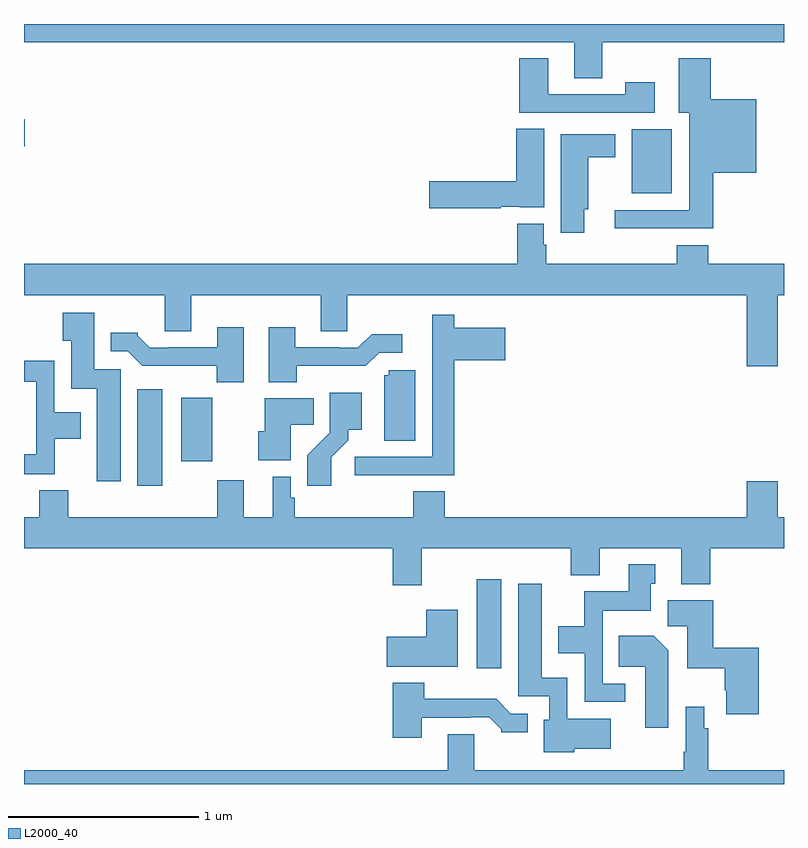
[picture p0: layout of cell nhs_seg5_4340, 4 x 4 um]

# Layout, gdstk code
import gdstk
lib = gdstk.Library(unit=1e-6, precision=1e-09)
def R(c, l, rs):  # rectangles x0, y0, x1, y1
    for r in rs: c.add(gdstk.rectangle(r[:2], r[2:], *l))
def P(c, l, *ps):  # polygons
    for p in ps: c.add(gdstk.Polygon(p, *l))
L2000_40 = (2000, 40)

nhs_seg5_4340 = lib.new_cell('nhs_seg5_4340')
R(nhs_seg5_4340, L2000_40, [(367.382,909.408,367.513,909.877), (365.597,910.368,365.728,910.876), (368.198,911.909,368.41,912.244), (365,912.155,365.005,912.297)])
P(nhs_seg5_4340, L2000_40, [(368.043,912.704),(369,912.704),(369,912.799),(365,912.799),(365,912.704),(367.895,912.704),(367.895,912.514),(368.043,912.514)],
  [(368.32,912.493),(368.164,912.493),(368.164,912.429),(367.759,912.429),(367.759,912.619),(367.607,912.619),(367.607,912.333),(368.32,912.333)],
  [(368.627,912.017),(368.854,912.017),(368.854,912.403),(368.614,912.403),(368.614,912.619),(368.447,912.619),(368.447,912.332),(368.501,912.332),(368.501,911.82),(368.109,911.82),(368.109,911.723),(368.627,911.723)],
  [(367.508,911.837),(367.608,911.837),(367.608,911.834),(367.738,911.834),(367.738,912.248),(367.592,912.248),(367.592,911.972),(367.134,911.972),(367.134,911.83),(367.508,911.83)],
  [(367.948,911.823),(367.969,911.823),(367.969,912.098),(368.113,912.098),(368.113,912.22),(367.826,912.22),(367.826,911.7),(367.948,911.7)],
  [(368.968,911.372),(369,911.372),(369,911.536),(368.6,911.536),(368.6,911.635),(368.435,911.635),(368.435,911.536),(367.748,911.536),(367.748,911.637),(367.735,911.637),(367.735,911.749),(367.595,911.749),(367.595,911.536),(365,911.536),(365,911.372),(365.741,911.372),(365.741,911.182),(365.881,911.182),(365.881,911.372),(366.563,911.372),(366.563,911.182),(366.702,911.182),(366.702,911.372),(368.804,911.372),(368.804,910.998),(368.968,910.998)],
  [(365.509,910.983),(365.371,910.983),(365.371,911.278),(365.203,911.278),(365.203,911.131),(365.249,911.131),(365.249,910.88),(365.384,910.88),(365.384,910.392),(365.509,910.392)],
  [(366.965,910.425),(367.265,910.425),(367.265,911.03),(367.534,911.03),(367.534,911.2),(367.265,911.2),(367.265,911.269),(367.148,911.269),(367.148,911.046),(367.149,911.046),(367.149,910.521),(366.741,910.521),(366.741,910.423),(366.965,910.423)],
  [(366.157,911.203),(366.017,911.203),(366.017,911.097),(365.761,911.097),(365.761,911.094),(365.662,911.094),(365.598,911.158),(365.598,911.173),(365.456,911.173),(365.456,911.076),(365.547,911.076),(365.623,911),(366.015,911),(366.015,910.913),(366.157,910.913)],
  [(366.435,911),(366.799,911),(366.87,911.07),(366.991,911.07),(366.991,911.167),(366.829,911.167),(366.756,911.094),(366.656,911.094),(366.656,911.097),(366.427,911.097),(366.427,911.203),(366.287,911.203),(366.287,910.913),(366.435,910.913)],
  [(365.163,910.616),(365.299,910.616),(365.299,910.756),(365.16,910.756),(365.16,911.026),(365,911.026),(365,910.917),(365.064,910.917),(365.064,910.534),(365,910.534),(365,910.43),(365.163,910.43)],
  [(367.06,910.977),(366.921,910.977),(366.921,910.95),(366.896,910.95),(366.896,910.606),(367.06,910.606)],
  [(366.616,910.519),(366.706,910.609),(366.706,910.664),(366.778,910.664),(366.778,910.858),(366.609,910.858),(366.609,910.649),(366.49,910.53),(366.49,910.368),(366.616,910.368)],
  [(365.992,910.724),(365.99,910.724),(365.99,910.831),(365.828,910.831),(365.828,910.497),(365.992,910.497)],
  [(366.403,910.69),(366.524,910.69),(366.524,910.828),(366.266,910.828),(366.266,910.655),(366.233,910.655),(366.233,910.502),(366.403,910.502)],
  [(367.093,910.04),(367.877,910.04),(367.877,909.899),(368.029,909.899),(368.029,910.04),(368.459,910.04),(368.459,909.851),(368.612,909.851),(368.612,910.04),(369,910.04),(369,910.204),(368.968,910.204),(368.968,910.393),(368.804,910.393),(368.804,910.204),(367.214,910.204),(367.214,910.34),(367.049,910.34),(367.049,910.204),(366.425,910.204),(366.425,910.305),(366.405,910.305),(366.405,910.417),(366.308,910.417),(366.308,910.204),(366.157,910.204),(366.157,910.399),(366.017,910.399),(366.017,910.204),(365.234,910.204),(365.234,910.345),(365.081,910.345),(365.081,910.204),(365,910.204),(365,910.04),(366.941,910.04),(366.941,909.846),(367.093,909.846)],
  [(368.164,909.327),(368.046,909.327),(368.046,909.71),(368.299,909.71),(368.299,909.852),(368.323,909.852),(368.323,909.955),(368.183,909.955),(368.183,909.814),(367.948,909.814),(367.948,909.628),(367.811,909.628),(367.811,909.488),(367.95,909.488),(367.95,909.231),(368.164,909.231)],
  [(367.896,908.984),(368.089,908.984),(368.089,909.142),(367.86,909.142),(367.86,909.358),(367.726,909.358),(367.726,909.853),(367.601,909.853),(367.601,909.261),(367.764,909.261),(367.764,909.138),(367.736,909.138),(367.736,908.966),(367.896,908.966)],
  [(368.867,909.517),(368.627,909.517),(368.627,909.766),(368.387,909.766),(368.387,909.628),(368.492,909.628),(368.492,909.407),(368.689,909.407),(368.689,909.292),(368.696,909.292),(368.696,909.165),(368.867,909.165)],
  [(367.282,909.715),(367.118,909.715),(367.118,909.574),(366.909,909.574),(366.909,909.416),(367.282,909.416)],
  [(368.392,909.502),(368.314,909.58),(368.131,909.58),(368.131,909.416),(368.27,909.416),(368.27,909.096),(368.392,909.096)],
  [(367.093,909.147),(367.349,909.147),(367.349,909.15),(367.448,909.15),(367.512,909.086),(367.512,909.071),(367.651,909.071),(367.651,909.168),(367.563,909.168),(367.485,909.247),(367.106,909.247),(367.106,909.331),(366.941,909.331),(366.941,909.042),(367.093,909.042)],
  [(369,908.872),(368.6,908.872),(368.6,909.092),(368.58,909.092),(368.58,909.205),(368.484,909.205),(368.484,908.968),(368.472,908.968),(368.472,908.872),(367.369,908.872),(367.369,909.062),(367.229,909.062),(367.229,908.872),(365,908.872),(365,908.799),(369,908.799)])

lib.write_gds('nhs_seg5_4340.gds')
